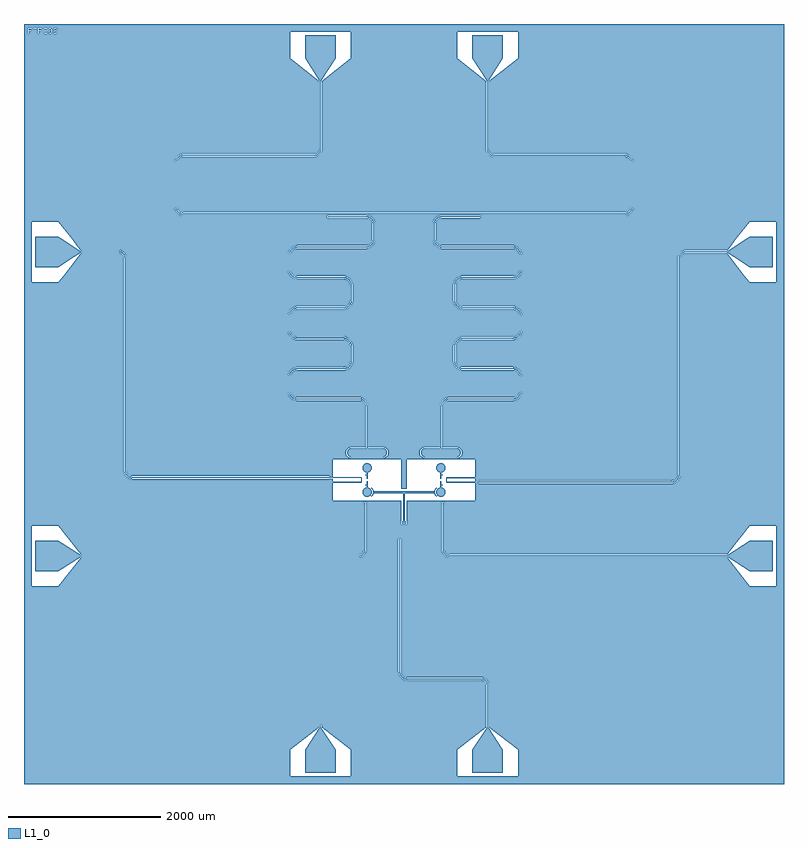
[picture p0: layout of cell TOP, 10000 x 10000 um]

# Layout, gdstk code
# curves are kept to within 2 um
import gdstk
lib = gdstk.Library(unit=1e-6, precision=1e-09)
def P(c, l, *ps):  # polygons
    for p in ps: c.add(gdstk.Polygon(p, *l))
L1_0 = (1, 0)

top = lib.new_cell('TOP')
P(top, L1_0, [(900,-4850),(900,-4550),(1092.5,-4250),(1092.48,-3693.369),(1088.674,-3672.596),(1079.609,-3655.324),(1056.369,-3635.232),(1026.631,-3627.52),(35.205,-3627.136),(3.923,-3619.672),(-23.705,-3603.209),(-43.519,-3581.685),(-57.644,-3552.792),(-62.5,-3521),(-62.5,-1770),(-60,-1770),(-60,-1760),(-50,-1760),(-50,-1770),(-47.5,-1770),(-47.5,-3521),(-44.264,-3545.118),(-34.785,-3567.531),(-21.652,-3584.734),(-2.531,-3599.785),(17.277,-3608.511),(41.289,-3612.46),(1032.291,-3612.823),(1056.992,-3618.956),(1077.249,-3631.154),(1093.214,-3648.598),(1103.574,-3669.854),(1107.5,-3695),(1107.5,-4250),(1300,-4550),(1300,-4850)],
  [(-20,-1589),(-20,-1570.5),(-10,-1570.5),(-10,-1580),(10,-1580),(10,-1570.5),(20,-1570.5),(20,-1589)],
  [(-4850,-2200),(-4850,-1800),(-4550,-1800),(-4250,-1992.5),(-577.031,-1991.242),(-557.196,-1983.993),(-540.572,-1970.969),(-528.786,-1953.445),(-522.815,-1931.515),(-522.5,-1310),(-515.735,-1302.536),(-507.644,-1308.537),(-507.823,-1932.291),(-514.682,-1958.667),(-528.528,-1980.022),(-549.808,-1997.048),(-573.681,-2005.87),(-4250,-2007.5),(-4550,-2200)],
  [(4550,-2200),(4250,-2007.5),(590,-2007.5),(571.896,-2005.489),(548.224,-1996.141),(527.326,-1978.649),(513.956,-1956.992),(507.823,-1932.291),(507.644,-1308.537),(515.735,-1302.536),(522.5,-1310),(522.815,-1931.515),(528.117,-1951.957),(539.476,-1969.761),(555.78,-1983.183),(575.435,-1990.91),(4250,-1992.5),(4550,-1800),(4850,-1800),(4850,-2200)],
  [(-20,-1565.5),(-20,-1545),(-7.5,-1545),(-7.5,-1172.5),(-398.164,-1172.5),(-408.966,-1199.445),(-429.5,-1219.601),(-429.5,-1209.787),(-419.3,-1199.967),(-409.796,-1184.109),(-405,-1160),(-409.796,-1135.891),(-419.3,-1120.033),(-429.5,-1110.213),(-429.5,-1100.399),(-408.966,-1120.555),(-398.164,-1147.5),(398.164,-1147.5),(408.966,-1120.555),(429.5,-1100.399),(429.5,-1110.213),(419.3,-1120.033),(409.796,-1135.891),(405,-1160),(409.796,-1184.109),(419.3,-1199.967),(429.5,-1209.787),(429.5,-1219.601),(408.966,-1199.445),(398.164,-1172.5),(7.5,-1172.5),(7.5,-1545),(20,-1545),(20,-1565.5),(10,-1565.5),(10,-1556),(-10,-1556),(-10,-1565.5)],
  [(-485,-1220),(-507.961,-1215.433),(-527.426,-1202.426),(-540.433,-1182.961),(-545,-1160),(-540.433,-1137.039),(-531.381,-1121.936),(-513.284,-1107.085),(-492.5,-1100.529),(-492.5,-1067),(-507,-1065),(-492.5,-1065),(-492.5,-1015),(-477.5,-1015),(-477.5,-1100.529),(-456.716,-1107.085),(-438.619,-1121.936),(-429.567,-1137.039),(-425,-1160),(-429.567,-1182.961),(-442.574,-1202.426),(-462.039,-1215.433)],
  [(485,-1220),(462.039,-1215.433),(442.574,-1202.426),(429.567,-1182.961),(425,-1160),(429.567,-1137.039),(438.619,-1121.936),(456.716,-1107.085),(477.5,-1100.529),(477.5,-1015),(492.5,-1015),(492.5,-1065),(507,-1065),(492.5,-1067),(492.5,-1100.529),(513.284,-1107.085),(531.381,-1121.936),(540.433,-1137.039),(545,-1160),(540.433,-1182.961),(527.426,-1202.426),(507.961,-1215.433)],
  [(-492.5,-985),(-492.5,-935),(-507,-935),(-492.5,-933),(-492.5,-899.471),(-513.284,-892.915),(-531.381,-878.064),(-542.416,-857.417),(-544.711,-834.119),(-537.915,-811.716),(-523.064,-793.619),(-502.417,-782.584),(-479.119,-780.289),(-456.716,-787.085),(-438.619,-801.936),(-427.584,-822.583),(-425.289,-845.881),(-429.567,-862.961),(-442.574,-882.426),(-456.716,-892.915),(-477.5,-899.471),(-477.5,-985)],
  [(477.5,-985),(477.5,-899.471),(456.716,-892.915),(438.619,-878.064),(427.584,-857.417),(425.289,-834.119),(432.085,-811.716),(446.936,-793.619),(467.583,-782.584),(490.881,-780.289),(513.284,-787.085),(531.381,-801.936),(542.416,-822.583),(544.711,-845.881),(540.433,-862.961),(527.426,-882.426),(513.284,-892.915),(492.5,-899.471),(492.5,-933),(507,-935),(492.5,-935),(492.5,-985)],
  [(-685,-700),(-707.961,-695.433),(-723.064,-686.381),(-734.888,-673.334),(-742.416,-657.417),(-745,-640),(-740.433,-617.039),(-731.381,-601.936),(-718.334,-590.112),(-702.417,-582.584),(-685,-580),(-492.5,-580),(-492.54,-33.289),(-500.264,0.886),(-518.348,27.734),(-547.114,47.736),(-581.289,55.46),(-1419.905,56.146),(-1453.641,65.686),(-1482.452,85.663),(-1504.503,116.548),(-1514.043,150.284),(-1512.714,384.417),(-1505.719,406.781),(-1492.233,429.414),(-1475.894,446.209),(-1453.641,460.314),(-1434.334,467.241),(-1411.124,470.46),(-780.989,471.142),(-754.925,478.264),(-730.05,494.488),(-713.025,515.469),(-702.273,543.153),(-701.313,777.51),(-707.019,798.388),(-717.468,817.343),(-732.077,833.312),(-750.029,845.404),(-767.692,852.264),(-789.099,855.46),(-1422.818,856.509),(-1456.278,866.975),(-1482.452,885.663),(-1501.853,911.312),(-1513.237,944.471),(-1513.237,1181.529),(-1506.861,1204.077),(-1494.003,1227.073),(-1475.894,1246.209),(-1456.278,1259.025),(-1434.334,1267.241),(-1411.124,1270.46),(-780.989,1271.142),(-750.029,1280.596),(-724.299,1300.239),(-707.019,1327.612),(-700.351,1359.289),(-702.273,1582.847),(-710.407,1605.782),(-722.498,1623.733),(-738.468,1638.343),(-757.422,1648.792),(-791.811,1655.5),(-1414.056,1655.662),(-1448.266,1663.328),(-1478.133,1681.688),(-1492.233,1696.586),(-1504.503,1716.548),(-1511.431,1735.856),(-1514.649,1759.065),(-1514.043,1975.716),(-1505.719,2006.781),(-1486.544,2036.13),(-1471.262,2049.814),(-1450.97,2061.53),(-1411.124,2070.46),(-490.875,2070.861),(-464.612,2077.208),(-441.347,2090.948),(-424.657,2108.657),(-412.32,2132.695),(-407.54,2159.289),(-408.151,2383.34),(-420.343,2417.206),(-433.525,2433.14),(-448.004,2444.011),(-466.983,2452.224),(-487.409,2455.459),(-1000,2455.5),(-1000,2470.5),(-487.216,2470.46),(-462.531,2466.551),(-442.056,2457.898),(-424.073,2444.832),(-409.516,2428.033),(-399.143,2408.374),(-393.492,2386.876),(-392.54,2159.065),(-397.356,2130.208),(-411.481,2101.315),(-431.295,2079.791),(-458.923,2063.328),(-487.284,2056.146),(-1410.901,2055.46),(-1445.075,2047.736),(-1475.701,2025.761),(-1491.925,2000.886),(-1499.328,1972.125),(-1499.649,1759.289),(-1490.795,1722.649),(-1467.923,1692.688),(-1440.05,1676.226),(-1410.901,1670.54),(-791.811,1670.5),(-771.393,1668.525),(-749.03,1661.53),(-728.738,1649.814),(-709.601,1631.705),(-695.497,1609.452),(-687.888,1587.29),(-685.311,1564),(-685.351,1359.065),(-692.072,1324.657),(-711.498,1292.056),(-741.122,1268.336),(-777.182,1256.509),(-1410.901,1255.46),(-1432.308,1252.264),(-1449.971,1245.404),(-1467.923,1233.312),(-1482.532,1217.343),(-1492.981,1198.388),(-1498.687,1177.51),(-1498.687,948.49),(-1489.593,920.218),(-1471.924,896.348),(-1447.54,879.394),(-1419.011,871.142),(-788.876,870.46),(-765.666,867.241),(-743.722,859.025),(-724.106,846.209),(-705.997,827.073),(-693.139,804.077),(-686.763,781.529),(-685.311,562),(-687.888,538.71),(-699.579,508.75),(-719.68,483.645),(-749.03,464.47),(-780.095,456.146),(-1408.189,455.5),(-1427.036,453.538),(-1447.54,446.606),(-1465.842,435.052),(-1480.919,419.522),(-1491.925,400.886),(-1498.246,380.185),(-1499.328,153.875),(-1491.925,125.114),(-1473.841,98.266),(-1449.971,80.596),(-1419.011,71.142),(-581.065,70.46),(-541.219,61.53),(-507.663,38.262),(-486.47,6.781),(-477.662,-30.133),(-477.5,-580),(-285,-580),(-267.583,-582.584),(-246.936,-593.619),(-232.085,-611.716),(-225.289,-634.119),(-226.153,-651.705),(-232.085,-668.284),(-246.936,-686.381),(-262.039,-695.433),(-279.119,-699.711)],
  [(285,-700),(262.039,-695.433),(246.936,-686.381),(235.112,-673.334),(227.584,-657.417),(225,-640),(229.567,-617.039),(238.619,-601.936),(251.666,-590.112),(267.583,-582.584),(285,-580),(477.5,-580),(477.864,-27.205),(482.356,-4.208),(491.768,17.25),(505.645,36.13),(523.315,51.519),(549.42,64.73),(581.065,70.46),(1441.314,70.861),(1470.075,78.264),(1492.923,92.688),(1511.975,115.469),(1522.727,143.153),(1523.246,380.185),(1516.925,400.886),(1505.919,419.522),(1490.842,435.052),(1472.54,446.606),(1452.036,453.538),(1433.189,455.5),(755.095,456.146),(724.03,464.47),(694.68,483.645),(674.579,508.75),(662.888,538.71),(660.311,562),(662.286,784.417),(669.281,806.781),(682.767,829.414),(699.106,846.209),(721.359,860.314),(740.666,867.241),(763.876,870.46),(1444.011,871.142),(1472.54,879.394),(1496.924,896.348),(1514.593,920.218),(1523.246,945.815),(1523.246,1180.185),(1516.925,1200.886),(1505.919,1219.522),(1488.712,1236.729),(1470.075,1247.736),(1433.189,1255.5),(755.095,1256.146),(726.734,1263.328),(699.106,1279.791),(679.291,1301.315),(666.081,1327.42),(660.351,1359.065),(661.763,1581.529),(669.281,1606.781),(682.767,1629.414),(699.106,1646.209),(721.359,1660.314),(740.666,1667.241),(763.876,1670.46),(1441.314,1670.861),(1467.578,1677.208),(1490.842,1690.948),(1509.08,1710.884),(1520.7,1735.277),(1524.689,1762),(1523.246,1980.185),(1515.795,2003.351),(1502.502,2023.733),(1484.306,2039.891),(1462.494,2050.68),(1433.189,2055.5),(493.133,2055.662),(470.021,2059.518),(445.75,2069.768),(426.87,2083.645),(411.481,2101.315),(398.27,2127.42),(392.662,2156.133),(392.858,2381.344),(397.272,2403.129),(406.506,2423.349),(420.08,2440.951),(437.288,2455.022),(462.531,2466.551),(487.216,2470.46),(1000,2470.5),(1000,2455.5),(487.409,2455.459),(466.983,2452.224),(445.794,2442.657),(429.86,2429.475),(418.989,2414.996),(411.538,2398.494),(407.663,2378.18),(407.661,2156.579),(413.226,2130.14),(424.657,2108.657),(439.267,2092.688),(457.218,2080.596),(477.508,2073.06),(496.289,2070.54),(1433.189,2070.5),(1467.77,2064.73),(1493.874,2051.519),(1513.502,2033.944),(1529.503,2009.452),(1537.714,1984.417),(1539.689,1762),(1535.671,1733.021),(1522.348,1703.75),(1500.894,1679.791),(1473.266,1663.328),(1444.905,1656.146),(766.811,1655.5),(747.964,1653.538),(727.46,1646.606),(707.077,1633.312),(692.468,1617.343),(682.019,1598.388),(676.313,1577.51),(675.351,1359.289),(680.13,1332.695),(692.468,1308.657),(711.288,1289.271),(734.95,1276.226),(758.686,1270.861),(1433.189,1270.5),(1453.607,1268.525),(1475.97,1261.53),(1496.262,1249.814),(1515.399,1231.705),(1529.503,1209.452),(1537.714,1184.417),(1538.237,944.471),(1526.853,911.312),(1505.32,883.645),(1475.97,864.47),(1444.905,856.146),(766.811,855.5),(747.964,853.538),(727.46,846.606),(707.077,833.312),(692.468,817.343),(682.019,798.388),(676.313,777.51),(675.311,562),(677.871,540.508),(688.025,515.469),(707.077,492.688),(729.925,478.264),(758.686,470.861),(1436.124,470.46),(1459.334,467.241),(1478.641,460.314),(1500.894,446.209),(1517.233,429.414),(1530.719,406.781),(1537.714,384.417),(1539.689,162),(1537.112,138.71),(1525.421,108.75),(1505.32,83.645),(1475.97,64.47),(1444.905,56.146),(581.289,55.46),(557.277,51.511),(532.884,39.891),(516.488,25.761),(503.87,8.175),(496.489,-9.277),(492.661,-30.579),(492.5,-580),(685,-580),(702.417,-582.584),(723.064,-593.619),(737.915,-611.716),(744.711,-634.119),(742.416,-657.417),(734.888,-673.334),(723.064,-686.381),(707.961,-695.433),(690.881,-699.711)],
  [(-2910,2492.5),(-2945.374,2499.143),(-2975.927,2518.168),(-2998.689,2549.497),(-3007.341,2584.434),(-3007.142,3188.344),(-3001.83,3212.765),(-2990.484,3235.033),(-2973.849,3253.686),(-2950.503,3268.689),(-2930.517,3275.307),(-2910,3277.5),(-1173.369,3277.52),(-1142.196,3286.007),(-1119.449,3306.656),(-1110.804,3324.141),(-1107.52,3343.369),(-1107.5,4250),(-1300,4550),(-1300,4850),(-900,4850),(-900,4550),(-1092.5,4250),(-1092.52,3343.175),(-1097.001,3318.121),(-1107.83,3297.1),(-1121.351,3282.326),(-1136.412,3272.081),(-1153.354,3265.39),(-1173.175,3262.52),(-2910,3262.5),(-2942.765,3255.715),(-2962.587,3243.567),(-2978.234,3226.372),(-2987.623,3207.946),(-2992.337,3185.18),(-2992.5,2590),(-2988.462,2564.506),(-2978.234,2543.628),(-2960.565,2524.812),(-2940.37,2513.293),(-2910,2507.5),(2910,2507.5),(2932.083,2510.52),(2951.996,2518.989),(2966.475,2529.86),(2979.657,2545.794),(2988.462,2564.506),(2992.337,2584.82),(2992.5,3180),(2989.224,3203.017),(2979.657,3224.206),(2964.558,3241.884),(2942.765,3255.715),(2910,3262.5),(1173.175,3262.52),(1139.675,3270.445),(1113.528,3289.978),(1098.267,3314.698),(1092.52,3343.175),(1092.5,4250),(900,4550),(900,4850),(1300,4850),(1300,4550),(1107.5,4250),(1107.52,3343.369),(1114.491,3315.085),(1132.732,3292.372),(1152.596,3281.326),(1175,3277.5),(2915.566,3277.341),(2947.954,3269.81),(2975.927,3251.832),(2996.232,3225.5),(3006.864,3191.114),(3006.864,2578.886),(2998.689,2549.497),(2979.92,2522.049),(2953.019,2502.504),(2921.114,2493.136)],
  [(-5000,-5000),(-5000,-4220),(-1092.5,-4220),(-1092.5,-4250),(-900,-4550),(-900,-4850),(-1300,-4850),(-1300,-4550),(-1107.5,-4250),(-1107.5,-4220),(-1117.5,-4220),(-1117.5,-4250),(-1500,-4550),(-1500,-4900),(-700,-4900),(-700,-4550),(-1082.5,-4250),(-1082.5,-4220),(-5000,-4220),(-5000,-1287.5),(-515,-1287.5),(-527.374,-1292.626),(-532.5,-1305),(-532.815,-1931.01),(-538.101,-1949.754),(-549.341,-1965.659),(-565.246,-1976.899),(-585.489,-1982.323),(-4250,-1982.5),(-4550,-1600),(-4900,-1600),(-4900,-2400),(-4550,-2400),(-4250,-2017.5),(-588.088,-2017.48),(-552.843,-2009.709),(-523.255,-1989.042),(-504.541,-1960.398),(-497.5,-1925),(-497.5,-1305),(-501.472,-1293.898),(-513.285,-1287.584),(-5000,-1287.5),(-5000,2480.5),(-1010,2480.5),(-1010,2445.5),(-487.577,2445.46),(-466.218,2441.489),(-446.994,2431.368),(-426.421,2407.842),(-417.864,2380.257),(-417.661,2156.883),(-422.318,2134.393),(-431.593,2116.19),(-447.05,2099.203),(-466.632,2087.203),(-499,2080.5),(-1420.367,2079.862),(-1458.344,2069.151),(-1492.696,2044.193),(-1514.617,2011.385),(-1524.33,1973.14),(-1524.689,1762),(-1522.144,1737.778),(-1513.341,1711.845),(-1498.727,1688.684),(-1481.505,1671.462),(-1458.344,1656.849),(-1435.386,1648.719),(-1411.239,1645.54),(-784.141,1645.138),(-761.808,1639.777),(-741.859,1628.398),(-724.404,1609.81),(-714.299,1589.185),(-710.311,1564),(-710.953,1351.785),(-716.034,1331.998),(-724.404,1316.19),(-737.914,1300.866),(-754.81,1289.383),(-771.542,1283.06),(-791.811,1280.5),(-1426.414,1279.066),(-1466.439,1264.892),(-1496.777,1239.661),(-1516.952,1205.75),(-1524.689,1164),(-1524.649,958.95),(-1521.47,934.804),(-1511.992,909.11),(-1496.777,886.339),(-1476.666,867.75),(-1452.772,854.368),(-1411.239,845.54),(-789.251,845.46),(-764.203,840.682),(-741.859,828.398),(-720.392,803.263),(-710.471,769.117),(-710.351,559.44),(-712.871,541.732),(-720.392,522.737),(-732.4,506.209),(-748.141,493.187),(-766.626,484.489),(-786.693,480.661),(-1411.239,480.46),(-1435.386,477.281),(-1455.574,470.428),(-1479.11,456.426),(-1498.727,437.316),(-1513.341,414.155),(-1522.144,388.222),(-1524.689,364),(-1524.689,162),(-1516.952,120.25),(-1496.777,86.339),(-1463.778,59.618),(-1423.396,46.497),(-581.44,45.46),(-551.632,38.797),(-524.589,19.791),(-509.203,-3.632),(-502.54,-33.44),(-502.5,-570),(-701.861,-570.337),(-721.788,-575.328),(-733.89,-581.797),(-749.111,-595.592),(-759.672,-613.212),(-764.663,-633.139),(-761.986,-660.32),(-753.203,-678.89),(-739.408,-694.111),(-721.788,-704.672),(-695,-710),(-268.139,-709.663),(-248.212,-704.672),(-230.592,-694.111),(-216.797,-678.89),(-208.014,-660.32),(-205.337,-633.139),(-213.266,-607.002),(-230.592,-585.889),(-254.68,-573.014),(-275,-570),(-467.5,-570),(-467.54,-32.95),(-474.182,2.888),(-489.75,32.477),(-508.339,52.587),(-528.411,66.382),(-550.912,75.702),(-577.903,80.34),(-1408.189,80.5),(-1433.374,84.489),(-1451.859,93.187),(-1469.323,108.103),(-1481.933,127.299),(-1488.246,146.728),(-1489.689,364),(-1484.871,391.607),(-1469.323,417.897),(-1445.19,436.617),(-1418.404,444.857),(-788.761,445.54),(-761.658,449.47),(-736.222,459.618),(-716.15,473.413),(-697.56,493.523),(-684.179,517.417),(-676.745,543.775),(-675.351,767.05),(-684.179,808.583),(-699.385,834.921),(-720.89,856.426),(-747.228,871.632),(-779.633,879.862),(-1408.189,880.5),(-1440.557,887.203),(-1458.141,897.602),(-1472.587,912.048),(-1481.933,927.299),(-1488.246,946.728),(-1489.689,1164),(-1484.871,1191.607),(-1469.323,1217.897),(-1445.19,1236.617),(-1418.404,1244.857),(-788.761,1245.54),(-761.658,1249.47),(-736.222,1259.618),(-716.15,1273.413),(-697.56,1293.523),(-684.179,1317.417),(-676.745,1343.775),(-675.311,1564),(-679.28,1594.152),(-692.478,1624.871),(-716.05,1652.5),(-744.426,1670.428),(-776.604,1679.503),(-1410.749,1680.54),(-1430.927,1683.736),(-1449.676,1691.85),(-1465.819,1704.371),(-1478.34,1720.513),(-1487.129,1741.732),(-1489.689,1762),(-1488.686,1976.749),(-1475.596,2009.81),(-1449.676,2034.15),(-1430.927,2042.264),(-1410.749,2045.46),(-499,2045.5),(-474.778,2048.046),(-448.845,2056.849),(-425.684,2071.462),(-408.462,2088.684),(-393.849,2111.845),(-385.046,2137.778),(-382.5,2162),(-383.13,2384.623),(-395.022,2423.354),(-418.213,2453.018),(-452.929,2473.906),(-490,2480.5),(490,2480.5),(452.929,2473.906),(418.213,2453.018),(395.022,2423.354),(383.13,2384.623),(382.5,2162),(385.046,2137.778),(393.849,2111.845),(408.462,2088.684),(425.684,2071.462),(448.845,2056.849),(474.778,2048.046),(499,2045.5),(1435.749,2045.46),(1470.19,2036.617),(1497.587,2013.952),(1508.966,1994.002),(1514.529,1969.117),(1514.328,1754.33),(1509.871,1734.393),(1500.596,1716.19),(1487.086,1700.866),(1470.19,1689.383),(1453.458,1683.06),(1433.189,1680.5),(754.633,1679.862),(722.228,1671.632),(693.495,1654.538),(669.105,1627.45),(655.108,1597.088),(650.311,1564),(652.261,1340.77),(660.383,1314.615),(674.385,1291.079),(693.495,1271.462),(713.921,1258.198),(739.614,1248.719),(763.761,1245.54),(1443.404,1244.857),(1470.19,1236.617),(1492.6,1219.791),(1507.986,1196.368),(1514.649,1166.56),(1513.246,946.728),(1506.933,927.299),(1497.587,912.048),(1483.141,897.602),(1465.557,887.203),(1433.189,880.5),(754.633,879.862),(725.061,872.762),(698.334,858.25),(676.273,837.316),(660.383,811.385),(652.856,788.222),(650.351,767.05),(651.745,543.775),(659.179,517.417),(672.56,493.523),(691.15,473.413),(713.921,458.198),(739.614,448.719),(763.761,445.54),(1443.404,444.857),(1470.19,436.617),(1492.6,419.791),(1507.986,396.368),(1514.649,366.56),(1513.246,146.728),(1506.933,127.299),(1494.323,108.103),(1476.859,93.187),(1458.374,84.489),(1433.189,80.5),(577.903,80.34),(553.848,76.53),(531.11,67.802),(510.684,54.538),(491.574,34.921),(474.182,2.888),(467.66,-29.903),(467.5,-570),(275,-570),(254.68,-573.014),(230.592,-585.889),(213.266,-607.002),(205.337,-633.139),(208.014,-660.32),(216.797,-678.89),(230.592,-694.111),(248.212,-704.672),(268.139,-709.663),(701.861,-709.663),(721.788,-704.672),(739.408,-694.111),(753.203,-678.89),(761.986,-660.32),(764.663,-633.139),(759.672,-613.212),(749.111,-595.592),(733.89,-581.797),(721.788,-575.328),(701.861,-570.337),(502.5,-570),(502.54,-33.44),(507.318,-8.393),(519.602,13.952),(547,36.617),(581.44,45.46),(1433.189,45.5),(1472.078,52.182),(1499.176,65.989),(1519.766,84.046),(1536.992,109.11),(1546.47,134.804),(1549.649,158.95),(1549.689,364),(1541.952,405.75),(1521.777,439.661),(1491.439,464.892),(1451.414,479.066),(766.811,480.5),(746.542,483.06),(729.81,489.383),(712.914,500.866),(699.404,516.19),(691.034,531.998),(685.953,551.785),(685.351,766.56),(693.067,798.701),(704.014,815.95),(721.001,831.407),(739.203,840.682),(761.693,845.339),(1433.189,845.5),(1454.667,847.5),(1477.772,854.368),(1501.666,867.75),(1521.777,886.339),(1536.992,909.11),(1546.47,934.804),(1549.649,958.95),(1549.689,1164),(1541.952,1205.75),(1521.777,1239.661),(1491.439,1264.892),(1451.414,1279.066),(766.811,1280.5),(746.542,1283.06),(729.81,1289.383),(712.914,1300.866),(699.404,1316.19),(691.034,1331.998),(685.953,1351.785),(685.311,1564),(689.299,1589.185),(699.404,1609.81),(716.859,1628.398),(736.808,1639.777),(759.141,1645.138),(1436.239,1645.54),(1460.386,1648.719),(1480.574,1655.572),(1504.11,1669.574),(1523.727,1688.684),(1538.341,1711.845),(1547.144,1737.778),(1549.689,1762),(1549.33,1973.14),(1539.617,2011.385),(1517.696,2044.193),(1483.344,2069.151),(1445.367,2079.862),(499,2080.5),(468.998,2086.223),(449.048,2097.602),(434.602,2112.048),(424.203,2129.632),(418.503,2149.251),(417.54,2375.423),(422.726,2400),(4550,2400),(4250,2017.5),(3685.458,2017.007),(3659.602,2010.459),(3636.689,1996.806),(3617.562,1975.593),(3606.345,1951.394),(3602.5,1925),(3602.5,-931),(3594.743,-965.701),(3572.95,-993.797),(3548.607,-1007.682),(3521,-1012.5),(975,-1012.5),(975,-1016.591),(935,-1016.591),(935,-975),(565,-975),(565,-1025),(975,-1025),(975,-1022.5),(3521,-1022.5),(3550.305,-1017.68),(3576.522,-1003.729),(3592.052,-988.653),(3602.404,-972.782),(3609.94,-952.492),(3612.5,-931),(3612.5,1925),(3618.267,1955.302),(3630.014,1975.824),(3645.626,1991.094),(3666.403,2002.385),(3687.709,2007.177),(4250,2007.5),(4550,2200),(4850,2200),(4850,1800),(4550,1800),(4250,1992.5),(3690.111,1992.323),(3672.596,1988.674),(3655.324,1979.609),(3642.372,1967.268),(3632.483,1950.454),(3627.5,1925),(3627.46,-933.935),(3619.672,-971.077),(3599.355,-1003.13),(3566.452,-1027.314),(3529.795,-1037.136),(975,-1037.5),(975,-1035),(564.02,-1034.952),(557.27,-1031.344),(555,-1025),(555.048,-974.02),(563.049,-965.192),(935,-965),(935,-725),(35,-725),(35,-1117.5),(-35,-1117.5),(-35,-725),(-935,-725),(-935,-956.591),(-975,-956.591),(-975,-952.5),(-3571,-952.5),(-3596.185,-948.511),(-3616.81,-938.407),(-3635.398,-920.952),(-3647.682,-898.607),(-3652.46,-873.56),(-3652.5,1925),(-3655.33,1947.707),(-3662.756,1967.334),(-3675.665,1986.229),(-3694.407,2002.438),(-3714.965,2012.488),(-3737.361,2017.184),(-4250,2017.5),(-4550,2400),(-4900,2400),(-4900,1600),(-4550,1600),(-4250,1982.5),(-3741.991,1982.421),(-3713.683,1973.224),(-3693.767,1951.104),(-3687.5,1925),(-3687.46,-874.05),(-3682.702,-904.088),(-3670.333,-931.871),(-3653.378,-953.378),(-3629.25,-971.892),(-3601.152,-983.53),(-3571,-987.5),(-975,-987.5),(-975,-983.409),(-935,-983.409),(-935,-1025),(-565,-1025),(-565,-975),(-975,-975),(-975,-977.5),(-3571,-977.5),(-3605.58,-971.73),(-3636.414,-955.043),(-3653.209,-938.705),(-3666.025,-919.088),(-3674.241,-897.144),(-3677.46,-873.935),(-3677.5,1925),(-3680.318,1944.301),(-3688.538,1961.991),(-3702.732,1977.628),(-3721.064,1988.114),(-3740.111,1992.323),(-4250,1992.5),(-4550,1800),(-4850,1800),(-4850,2200),(-4550,2200),(-4250,2007.5),(-3735.892,2006.996),(-3713.008,2001.044),(-3692.751,1988.846),(-3676.786,1971.402),(-3665.889,1948.402),(-3662.5,1925),(-3662.5,-871),(-3659.94,-892.492),(-3652.404,-912.782),(-3642.052,-928.653),(-3626.522,-943.729),(-3600.305,-957.68),(-3571,-962.5),(-975,-962.5),(-975,-965),(-564.02,-965.048),(-557.27,-968.656),(-555,-975),(-555.048,-1025.98),(-563.049,-1034.808),(-935,-1035),(-935,-1275),(-37.5,-1275),(-37.5,-1589),(-85,-1589),(-85,-1760),(-68.409,-1760),(-68.409,-1770),(-72.5,-1770),(-72.5,-3521),(-69.954,-3545.222),(-61.151,-3571.155),(-44.587,-3596.661),(-21.986,-3617.011),(5.112,-3630.818),(31.822,-3636.862),(1028.009,-3637.579),(1045.606,-3641.319),(1062.343,-3651.277),(1074.027,-3664.956),(1081.243,-3683.045),(1082.5,-4250),(700,-4550),(700,-4900),(1500,-4900),(1500,-4550),(1117.5,-4250),(1117.322,-3689.268),(1113.655,-3668.606),(1105.424,-3649.303),(1091.745,-3630.958),(1075.593,-3617.562),(1051.394,-3606.345),(1026.912,-3602.52),(38.883,-3602.339),(16.393,-3597.682),(-1.81,-3588.407),(-18.797,-3572.95),(-30.797,-3553.368),(-37.5,-3521),(-37.5,-1770),(-41.591,-1770),(-41.591,-1760),(85,-1760),(85,-1589),(37.5,-1589),(37.5,-1287.5),(515,-1287.5),(502.626,-1292.626),(497.5,-1305),(497.816,-1932.639),(504.541,-1960.398),(520.665,-1986.229),(542.651,-2004.462),(569.151,-2015.12),(590,-2017.5),(4250,-2017.5),(4550,-2400),(4900,-2400),(4900,-1600),(4550,-1600),(4250,-1982.5),(586.991,-1982.421),(566.613,-1977.529),(549.341,-1965.659),(538.101,-1949.754),(532.677,-1929.511),(532.5,-1305),(528.528,-1293.898),(515,-1287.5),(37.5,-1287.5),(37.5,-1275),(935,-1275),(935,-1043.409),(975,-1043.409),(975,-1047.5),(3521,-1047.5),(3559.888,-1040.818),(3591.921,-1023.426),(3611.538,-1004.316),(3624.802,-983.89),(3634.281,-958.196),(3637.46,-934.05),(3637.5,1925),(3641.319,1945.606),(3649.382,1960.004),(3661.202,1971.518),(3675.806,1979.202),(3691.991,1982.421),(4250,1982.5),(4550,1600),(4900,1600),(4900,2400),(422.726,2400),(431.632,2416.006),(445.068,2429.898),(461.697,2439.747),(480.337,2444.853),(1010,2445.5),(1010,2480.5),(-5000,2480.5),(-5000,4950),(-4950,4950),(-4950,4872.222),(-4938.889,4872.222),(-4938.889,4905.556),(-4905.555,4905.556),(-4905.555,4916.667),(-4938.889,4916.667),(-4938.889,4938.889),(-4894.444,4938.889),(-4894.444,4950),(-4883.333,4950),(-4883.333,4938.889),(-4861.111,4938.889),(-4861.111,4872.222),(-4850,4872.222),(-4850,4938.889),(-4827.778,4938.889),(-4827.778,4950),(-4816.667,4950),(-4816.667,4872.222),(-4805.555,4872.222),(-4805.555,4905.556),(-4772.222,4905.556),(-4772.222,4916.667),(-4805.555,4916.667),(-4805.555,4938.889),(-4750,4938.889),(-4750,4883.333),(-4738.889,4883.333),(-4738.889,4872.222),(-4694.444,4872.222),(-4694.444,4883.333),(-4738.889,4883.333),(-4738.889,4938.889),(-4761.111,4938.889),(-4761.111,4950),(-4738.889,4950),(-4738.889,4938.889),(-4683.333,4938.889),(-4683.333,4883.333),(-4672.222,4883.333),(-4672.222,4872.222),(-4638.889,4872.222),(-4638.889,4883.333),(-4672.222,4883.333),(-4672.222,4894.444),(-4661.111,4894.444),(-4661.111,4905.556),(-4672.222,4905.556),(-4672.222,4916.667),(-4661.111,4916.667),(-4661.111,4905.556),(-4650,4905.556),(-4650,4916.667),(-4672.222,4916.667),(-4672.222,4938.889),(-4694.444,4938.889),(-4694.444,4950),(-4672.222,4950),(-4672.222,4938.889),(-4638.889,4938.889),(-4638.889,4927.778),(-4650,4927.778),(-4650,4916.667),(-4638.889,4916.667),(-4638.889,4883.333),(-4627.778,4883.333),(-4627.778,4938.889),(-4616.667,4938.889),(-4616.667,4883.333),(-4605.555,4883.333),(-4605.555,4872.222),(-4572.222,4872.222),(-4572.222,4883.333),(-4605.555,4883.333),(-4605.555,4894.444),(-4594.444,4894.444),(-4594.444,4905.556),(-4605.555,4905.556),(-4605.555,4916.667),(-4594.444,4916.667),(-4594.444,4905.556),(-4583.333,4905.556),(-4583.333,4916.667),(-4605.555,4916.667),(-4605.555,4938.889),(-4638.889,4938.889),(-4638.889,4950),(-4605.555,4950),(-4605.555,4938.889),(-4572.222,4938.889),(-4572.222,4927.778),(-4583.333,4927.778),(-4583.333,4916.667),(-4572.222,4916.667),(-4572.222,4883.333),(-4561.111,4883.333),(-4561.111,4900),(700,4900),(700,4550),(1082.5,4250),(1082.579,3341.177),(1085.33,3322.293),(1092.756,3302.666),(1104.415,3285.217),(1119.706,3270.846),(1144.965,3257.512),(1175,3252.5),(2912.423,3252.46),(2942.698,3244.708),(2965.365,3226.808),(2977.656,3206.057),(2982.46,3182.423),(2982.338,2585.158),(2976.747,2561.697),(2963.77,2541.368),(2942.698,2525.292),(2919.663,2518.147),(-2910,2517.5),(-2936.057,2522.344),(-2954.932,2533.102),(-2969.772,2548.969),(-2979.245,2568.52),(-2982.5,2590),(-2982.338,3184.842),(-2978.489,3203.782),(-2968.368,3223.006),(-2954.932,3236.898),(-2938.303,3246.747),(-2910,3252.5),(-1173.088,3252.52),(-1150.444,3255.819),(-1129.303,3264.576),(-1110.958,3278.255),(-1095.538,3297.651),(-1086.345,3318.606),(-1082.52,3343.088),(-1082.5,4250),(-700,4550),(-700,4900),(-1500,4900),(-1500,4550),(-1117.5,4250),(-1117.5,3345),(-1119.459,3330.118),(-1125.973,3314.956),(-1146.25,3295.204),(-1173.495,3287.52),(-2910,3287.5),(-2933.109,3284.987),(-2955.138,3277.564),(-2979.594,3261.932),(-2998.977,3240.328),(-3011.873,3214.325),(-3017.145,3188.725),(-3017.461,2587.089),(-3011.873,2555.675),(-2995.58,2524.944),(-2970.328,2501.023),(-2941.554,2487.235),(-2910,2482.5),(2912.911,2482.539),(2952.48,2491.249),(2970.328,2501.023),(2988.045,2516.072),(3009.865,2550.21),(3017.5,2590),(3016.87,3191.623),(3009.865,3219.79),(2995.027,3245.764),(2972.715,3267.31),(2947.071,3280.906),(2910,3287.5),(1173.495,3287.52),(1147.563,3294.468),(1126.776,3313.683),(1119.868,3328.669),(1117.5,3345),(1117.5,4250),(1500,4550),(1500,4900),(-4561.111,4900),(-4561.111,4938.889),(-4572.222,4938.889),(-4572.222,4950),(-5000,4950),(-5000,5000),(5000,5000),(5000,-5000)],
  [(-85,-1760),(-85,-1589),(-37.5,-1589),(-37.5,-1590),(-20,-1590),(-20,-1589),(20,-1589),(20,-1590),(37.5,-1590),(37.5,-1589),(85,-1589),(85,-1760),(-41.591,-1760),(-41.591,-1621.909),(41.591,-1621.909),(41.591,-1683.111),(50,-1683.111),(50,-1613.5),(-50,-1613.5),(-50,-1760),(-60,-1760),(-60,-1603.5),(60,-1603.5),(60,-1683.111),(68.409,-1683.111),(68.409,-1595.091),(-68.409,-1595.091),(-68.409,-1760)])

lib.write_gds('TOP.gds')
